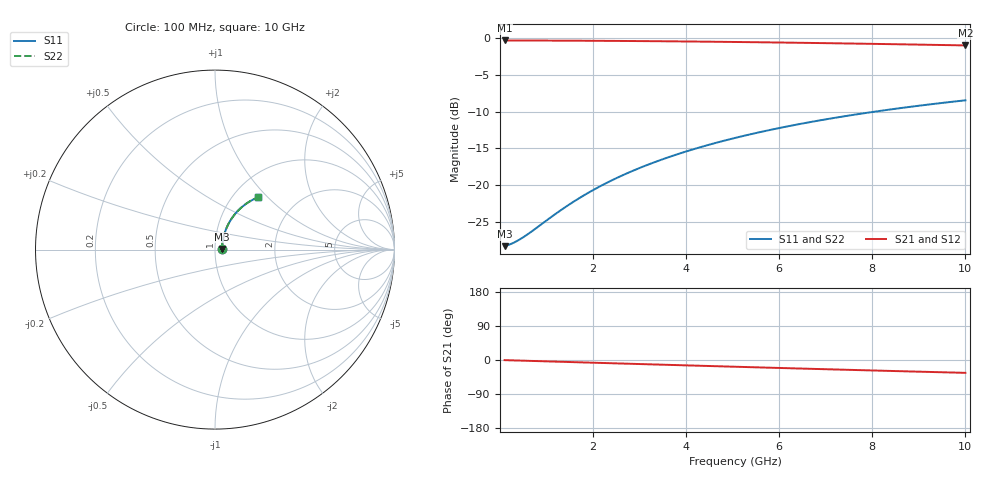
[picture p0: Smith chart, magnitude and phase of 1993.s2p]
# Hz S RI R 50.00
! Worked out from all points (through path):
!   100 points, 100 MHz to 10 GHz, reference 50 ohm
!   highest |S21| = -0.34 dB at 100 MHz (marker M1); lowest = -1.0 dB at 10 GHz (marker M2)
!   group delay of S21, straight-line fit = 9.45 ps
!   lowest |S11| = -28.3 dB at 100 MHz (marker M3), VSWR 1.08, Z = 54 + j0.428 ohm
!   |S11| at or under -10 dB: start of sweep to 8.075 GHz
!   |S22| runs from -28.3 to -8.5 dB; largest |S21 - S12| = 0
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1e8  0.0382 0.00396  0.9618 -0.006  0.9618 -0.006  0.0382 0.00396
2e8  0.0385 0.00792  0.9615 -0.012  0.9615 -0.012  0.0385 0.00792
3e8  0.0388 0.0119  0.9612 -0.018  0.9612 -0.018  0.0388 0.0119
5e8  0.0395 0.0198  0.9605 -0.03  0.9605 -0.03  0.0395 0.0198
7e8  0.0403 0.0276  0.9596 -0.0419  0.9596 -0.0419  0.0403 0.0276
1.3e9  0.0437 0.0511  0.9559 -0.0776  0.9559 -0.0776  0.0437 0.0511
1.6e9  0.046 0.0626  0.9535 -0.0953  0.9535 -0.0953  0.046 0.0626
1.8e9  0.0477 0.0703  0.9516 -0.107  0.9516 -0.107  0.0477 0.0703
2.2e9  0.0518 0.0854  0.9472 -0.1303  0.9472 -0.1303  0.0518 0.0854
2.6e9  0.0566 0.1003  0.942 -0.1534  0.942 -0.1534  0.0566 0.1003
3e9  0.062 0.1149  0.936 -0.1761  0.936 -0.1761  0.062 0.1149
3.4e9  0.0682 0.1291  0.9293 -0.1985  0.9293 -0.1985  0.0682 0.1291
3.8e9  0.075 0.143  0.9219 -0.2206  0.9219 -0.2206  0.075 0.143
4.2e9  0.0824 0.1564  0.9138 -0.2422  0.9138 -0.2422  0.0824 0.1564
4.6e9  0.0904 0.1694  0.905 -0.2634  0.905 -0.2634  0.0904 0.1694
5.1e9  0.1012 0.185  0.8931 -0.2892  0.8931 -0.2892  0.1012 0.185
5.9e9  0.1202 0.2082  0.8722 -0.3289  0.8722 -0.3289  0.1202 0.2082
6.7e9  0.141 0.2293  0.8493 -0.3664  0.8493 -0.3664  0.141 0.2293
7.5e9  0.1633 0.248  0.8245 -0.4016  0.8245 -0.4016  0.1633 0.248
8.4e9  0.1898 0.2661  0.7948 -0.4384  0.7948 -0.4384  0.1898 0.2661
9.2e9  0.2144 0.2797  0.7672 -0.4686  0.7672 -0.4686  0.2144 0.2797
1e10  0.2395 0.2908  0.7386 -0.4965  0.7386 -0.4965  0.2395 0.2908
